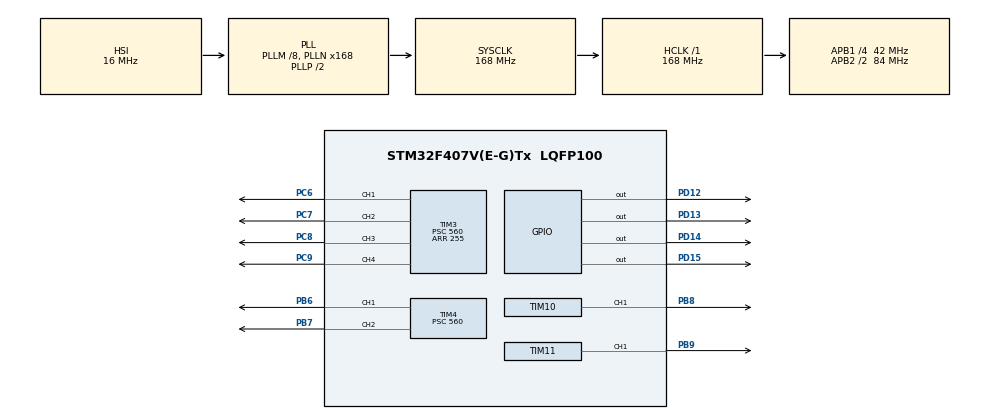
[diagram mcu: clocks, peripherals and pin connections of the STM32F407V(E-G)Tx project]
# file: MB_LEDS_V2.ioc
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Mcu.Family=STM32F4
Mcu.Name=STM32F407V(E-G)Tx
Mcu.Package=LQFP100
NVIC.PriorityGroup=NVIC_PRIORITYGROUP_4
NVIC.TIM6_DAC_IRQn=true\:0\:0\:false\:false\:true\:true
NVIC.TIM7_IRQn=true\:0\:0\:false\:false\:true\:true
PB6.GPIO_PuPd=GPIO_PULLUP
PB6.GPIO_Speed=GPIO_SPEED_FREQ_MEDIUM
PB6.Signal=S_TIM4_CH1
PB7.GPIO_PuPd=GPIO_PULLUP
PB7.GPIO_Speed=GPIO_SPEED_FREQ_MEDIUM
PB7.Signal=S_TIM4_CH2
PB8.GPIO_PuPd=GPIO_PULLUP
PB8.GPIO_Speed=GPIO_SPEED_FREQ_MEDIUM
PB8.Signal=S_TIM10_CH1
PB9.GPIO_PuPd=GPIO_PULLUP
PB9.GPIO_Speed=GPIO_SPEED_FREQ_MEDIUM
PB9.Signal=S_TIM11_CH1
PC6.GPIO_PuPd=GPIO_PULLUP
PC6.GPIO_Speed=GPIO_SPEED_FREQ_MEDIUM
PC6.Signal=S_TIM3_CH1
PC7.GPIO_PuPd=GPIO_PULLUP
PC7.GPIO_Speed=GPIO_SPEED_FREQ_MEDIUM
PC7.Signal=S_TIM3_CH2
PC8.GPIO_PuPd=GPIO_PULLUP
PC8.GPIO_Speed=GPIO_SPEED_FREQ_MEDIUM
PC8.Signal=S_TIM3_CH3
PC9.GPIO_PuPd=GPIO_PULLUP
PC9.GPIO_Speed=GPIO_SPEED_FREQ_MEDIUM
PC9.Signal=S_TIM3_CH4
PD12.Signal=GPIO_Output
PD13.Signal=GPIO_Output
PD14.Signal=GPIO_Output
PD15.Signal=GPIO_Output
ProjectManager.HeapSize=0x200
ProjectManager.StackSize=0x400
ProjectManager.TargetToolchain=SW4STM32
RCC.48MHZClocksFreq_Value=84000000
RCC.AHBFreq_Value=168000000
RCC.APB1CLKDivider=RCC_HCLK_DIV4
RCC.APB1Freq_Value=42000000
RCC.APB1TimFreq_Value=84000000
RCC.APB2CLKDivider=RCC_HCLK_DIV2
RCC.APB2Freq_Value=84000000
RCC.APB2TimFreq_Value=168000000
RCC.CortexFreq_Value=168000000
RCC.HCLKFreq_Value=168000000
RCC.HSE_VALUE=25000000
RCC.HSI_VALUE=16000000
RCC.LSE_VALUE=32768
RCC.PLLM=8
RCC.PLLN=168
RCC.SYSCLKFreq_VALUE=168000000
RCC.SYSCLKSource=RCC_SYSCLKSOURCE_PLLCLK
RCC.VCOOutputFreq_Value=336000000
SH.S_TIM10_CH1.0=TIM10_CH1,PWM Generation1 CH1
SH.S_TIM11_CH1.0=TIM11_CH1,PWM Generation1 CH1
SH.S_TIM3_CH1.0=TIM3_CH1,PWM Generation1 CH1
SH.S_TIM3_CH2.0=TIM3_CH2,PWM Generation2 CH2
SH.S_TIM3_CH3.0=TIM3_CH3,PWM Generation3 CH3
SH.S_TIM3_CH4.0=TIM3_CH4,PWM Generation4 CH4
SH.S_TIM4_CH1.0=TIM4_CH1,PWM Generation1 CH1
SH.S_TIM4_CH2.0=TIM4_CH2,PWM Generation2 CH2
TIM10.Channel=TIM_CHANNEL_1
TIM10.Period=255
TIM10.Prescaler=560
TIM11.Channel=TIM_CHANNEL_1
TIM11.Period=255
TIM11.Prescaler=560
TIM3.Channel-PWM\ Generation1\ CH1=TIM_CHANNEL_1
TIM3.Channel-PWM\ Generation2\ CH2=TIM_CHANNEL_2
TIM3.Channel-PWM\ Generation3\ CH3=TIM_CHANNEL_3
TIM3.Channel-PWM\ Generation4\ CH4=TIM_CHANNEL_4
TIM3.Period=255
TIM3.Prescaler=560
TIM4.Channel-PWM\ Generation1\ CH1=TIM_CHANNEL_1
TIM4.Channel-PWM\ Generation2\ CH2=TIM_CHANNEL_2
TIM4.Period=255
TIM4.Prescaler=560
TIM6.Period=1
TIM6.Prescaler=10000
TIM7.Period=10
TIM7.Prescaler=50000
VP_TIM10_VS_ClockSourceINT.Mode=Enable_Timer
VP_TIM11_VS_ClockSourceINT.Mode=Enable_Timer
VP_TIM3_VS_ClockSourceINT.Mode=Internal
VP_TIM4_VS_ClockSourceINT.Mode=Internal
VP_TIM6_VS_ClockSourceINT.Mode=Enable_Timer
VP_TIM7_VS_ClockSourceINT.Mode=Enable_Timer
board=MB_LEDS_V2

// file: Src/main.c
/**
  ******************************************************************************
  * @file           : main.c
  * @brief          : Main program body
  ******************************************************************************
  ** This notice applies to any and all portions of this file
  * that are not between comment pairs USER CODE BEGIN and
  * USER CODE END. Other portions of this file, whether
  * inserted by the user or by software development tools
  * are owned by their respective copyright owners.
  *
  * COPYRIGHT(c) 2019 STMicroelectronics
  *
  * Redistribution and use in source and binary forms, with or without modification,
  * are permitted provided that the following conditions are met:
  *   1. Redistributions of source code must retain the above copyright notice,
  *      this list of conditions and the following disclaimer.
  *   2. Redistributions in binary form must reproduce the above copyright notice,
  *      this list of conditions and the following disclaimer in the documentation
  *      and/or other materials provided with the distribution.
  *   3. Neither the name of STMicroelectronics nor the names of its contributors
  *      may be used to endorse or promote products derived from this software
  *      without specific prior written permission.
  *
  * THIS SOFTWARE IS PROVIDED BY THE COPYRIGHT HOLDERS AND CONTRIBUTORS "AS IS"
  * AND ANY EXPRESS OR IMPLIED WARRANTIES, INCLUDING, BUT NOT LIMITED TO, THE
  * IMPLIED WARRANTIES OF MERCHANTABILITY AND FITNESS FOR A PARTICULAR PURPOSE ARE
  * DISCLAIMED. IN NO EVENT SHALL THE COPYRIGHT HOLDER OR CONTRIBUTORS BE LIABLE
  * FOR ANY DIRECT, INDIRECT, INCIDENTAL, SPECIAL, EXEMPLARY, OR CONSEQUENTIAL
  * DAMAGES (INCLUDING, BUT NOT LIMITED TO, PROCUREMENT OF SUBSTITUTE GOODS OR
  * SERVICES; LOSS OF USE, DATA, OR PROFITS; OR BUSINESS INTERRUPTION) HOWEVER
  * CAUSED AND ON ANY THEORY OF LIABILITY, WHETHER IN CONTRACT, STRICT LIABILITY,
  * OR TORT (INCLUDING NEGLIGENCE OR OTHERWISE) ARISING IN ANY WAY OUT OF THE USE
  * OF THIS SOFTWARE, EVEN IF ADVISED OF THE POSSIBILITY OF SUCH DAMAGE.
  *
  ******************************************************************************
  */
#include "main.h"
#include "stm32f4xx_hal.h"

/* USER CODE BEGIN Includes */
#include "math.h"
/* USER CODE END Includes */

TIM_HandleTypeDef htim3;
TIM_HandleTypeDef htim4;
TIM_HandleTypeDef htim6;
TIM_HandleTypeDef htim7;
TIM_HandleTypeDef htim10;
TIM_HandleTypeDef htim11;

/* USER CODE BEGIN PV */
/* Private variables ---------------------------------------------------------*/
#define PERIOD 255
#define RED 0
#define GREEN 1
#define BLUE 2
/* USER CODE END PV */

void SystemClock_Config(void);
static void MX_GPIO_Init(void);
static void MX_TIM7_Init(void);
static void MX_TIM6_Init(void);
static void MX_TIM3_Init(void);
static void MX_TIM4_Init(void);
static void MX_TIM10_Init(void);
static void MX_TIM11_Init(void);
void HAL_TIM_MspPostInit(TIM_HandleTypeDef *htim);

/* USER CODE BEGIN PFP */
/* Private function prototypes -----------------------------------------------*/
/**
  * @brief  Deze functie bepaald de PWM waarde van de pin op het ledje.
  * @param  bits is de data die bestaat uit een 8-bit kleur.
  * @param  kleur geeft aan of de pin aan R G of B zit
  *          This parameter can be one of the following values:
  *            @arg RED: 	Pin bij het rode ledje
  *            @arg GREEN: 	Pin bij het groene ledje
  *            @arg BLUE: 	Pin bij het blauw ledje
  * @retval HAL status
  */
uint8_t get_value(unsigned int bits, uint8_t kleur)
{
	switch(kleur)
	{
	case RED://rood
		bits = bits>>16;
		break;
	case GREEN://groen
		bits = bits>>8;
		break;
	case BLUE://blauw
		break;
	default:
		return 0;
		break;
	}

	return PERIOD/0xFF * (bits &= 0xFF);
}

void color_led(unsigned int data)
{
	  htim3.Instance->CCR1 = get_value(data, RED);		//R
	  htim3.Instance->CCR4 = get_value(data, GREEN);		//B
	  htim3.Instance->CCR2 = get_value(data, BLUE);	//G
}

void wave()
{
	uint8_t teller = 0;
	while(teller<24)
	{
		color_led(pow(2,teller));
		HAL_Delay(50);
		teller++;
	}
	teller = 0;
}
/* USER CODE END PFP */

int main(void)
{

  /* MCU Configuration----------------------------------------------------------*/

  /* Reset of all peripherals, Initializes the Flash interface and the Systick. */
  HAL_Init();

  /* Configure the system clock */
  SystemClock_Config();

  /* Initialize all configured peripherals */
  MX_GPIO_Init();
  MX_TIM7_Init();
  MX_TIM6_Init();
  MX_TIM3_Init();
  MX_TIM4_Init();
  MX_TIM10_Init();
  MX_TIM11_Init();
  /* USER CODE BEGIN 2 */
  HAL_TIM_Base_Start_IT(&htim6);
  HAL_TIM_Base_Start_IT(&htim7);
  HAL_TIM_PWM_Start(&htim3, TIM_CHANNEL_1);
  HAL_TIM_PWM_Start(&htim3, TIM_CHANNEL_2);
  HAL_TIM_PWM_Start(&htim3, TIM_CHANNEL_3);
  HAL_TIM_PWM_Start(&htim3, TIM_CHANNEL_4);
  HAL_TIM_PWM_Start(&htim4, TIM_CHANNEL_1);
  HAL_TIM_PWM_Start(&htim4, TIM_CHANNEL_2);
  HAL_TIM_PWM_Start(&htim10, TIM_CHANNEL_1);
  HAL_TIM_PWM_Start(&htim11, TIM_CHANNEL_1);
  /* USER CODE END 2 */

  /* Infinite loop */
  /* USER CODE BEGIN WHILE */
  int test = 0;
  while (1)
  {
	  /*if(test > 16777215)
		  test = 0;
	  color_led(0xef1f00);
	  HAL_Delay(1);
	  test++;*/
	  wave();

  /* USER CODE END WHILE */

  }

}

void SystemClock_Config(void)
{

  RCC_OscInitTypeDef RCC_OscInitStruct;
  RCC_ClkInitTypeDef RCC_ClkInitStruct;

    /**Configure the main internal regulator output voltage
    */
  __HAL_RCC_PWR_CLK_ENABLE();

  __HAL_PWR_VOLTAGESCALING_CONFIG(PWR_REGULATOR_VOLTAGE_SCALE1);

    /**Initializes the CPU, AHB and APB busses clocks
    */
  RCC_OscInitStruct.OscillatorType = RCC_OSCILLATORTYPE_HSI;
  RCC_OscInitStruct.HSIState = RCC_HSI_ON;
  RCC_OscInitStruct.HSICalibrationValue = 16;
  RCC_OscInitStruct.PLL.PLLState = RCC_PLL_ON;
  RCC_OscInitStruct.PLL.PLLSource = RCC_PLLSOURCE_HSI;
  RCC_OscInitStruct.PLL.PLLM = 8;
  RCC_OscInitStruct.PLL.PLLN = 168;
  RCC_OscInitStruct.PLL.PLLP = RCC_PLLP_DIV2;
  RCC_OscInitStruct.PLL.PLLQ = 4;
  if (HAL_RCC_OscConfig(&RCC_OscInitStruct) != HAL_OK)
  {
    _Error_Handler(__FILE__, __LINE__);
  }

    /**Initializes the CPU, AHB and APB busses clocks
    */
  RCC_ClkInitStruct.ClockType = RCC_CLOCKTYPE_HCLK|RCC_CLOCKTYPE_SYSCLK
                              |RCC_CLOCKTYPE_PCLK1|RCC_CLOCKTYPE_PCLK2;
  RCC_ClkInitStruct.SYSCLKSource = RCC_SYSCLKSOURCE_PLLCLK;
  RCC_ClkInitStruct.AHBCLKDivider = RCC_SYSCLK_DIV1;
  RCC_ClkInitStruct.APB1CLKDivider = RCC_HCLK_DIV4;
  RCC_ClkInitStruct.APB2CLKDivider = RCC_HCLK_DIV2;

  if (HAL_RCC_ClockConfig(&RCC_ClkInitStruct, FLASH_LATENCY_5) != HAL_OK)
  {
    _Error_Handler(__FILE__, __LINE__);
  }

    /**Configure the Systick interrupt time
    */
  HAL_SYSTICK_Config(HAL_RCC_GetHCLKFreq()/1000);

    /**Configure the Systick
    */
  HAL_SYSTICK_CLKSourceConfig(SYSTICK_CLKSOURCE_HCLK);

  /* SysTick_IRQn interrupt configuration */
  HAL_NVIC_SetPriority(SysTick_IRQn, 0, 0);
}

/* TIM3 init function */
static void MX_TIM3_Init(void)
{

  TIM_ClockConfigTypeDef sClockSourceConfig;
  TIM_MasterConfigTypeDef sMasterConfig;
  TIM_OC_InitTypeDef sConfigOC;

  htim3.Instance = TIM3;
  htim3.Init.Prescaler = 560;
  htim3.Init.CounterMode = TIM_COUNTERMODE_UP;
  htim3.Init.Period = 255;
  htim3.Init.ClockDivision = TIM_CLOCKDIVISION_DIV1;
  if (HAL_TIM_Base_Init(&htim3) != HAL_OK)
  {
    _Error_Handler(__FILE__, __LINE__);
  }

  sClockSourceConfig.ClockSource = TIM_CLOCKSOURCE_INTERNAL;
  if (HAL_TIM_ConfigClockSource(&htim3, &sClockSourceConfig) != HAL_OK)
  {
    _Error_Handler(__FILE__, __LINE__);
  }

  if (HAL_TIM_PWM_Init(&htim3) != HAL_OK)
  {
    _Error_Handler(__FILE__, __LINE__);
  }

  sMasterConfig.MasterOutputTrigger = TIM_TRGO_RESET;
  sMasterConfig.MasterSlaveMode = TIM_MASTERSLAVEMODE_DISABLE;
  if (HAL_TIMEx_MasterConfigSynchronization(&htim3, &sMasterConfig) != HAL_OK)
  {
    _Error_Handler(__FILE__, __LINE__);
  }

  sConfigOC.OCMode = TIM_OCMODE_PWM1;
  sConfigOC.Pulse = 0;
  sConfigOC.OCPolarity = TIM_OCPOLARITY_HIGH;
  sConfigOC.OCFastMode = TIM_OCFAST_DISABLE;
  if (HAL_TIM_PWM_ConfigChannel(&htim3, &sConfigOC, TIM_CHANNEL_1) != HAL_OK)
  {
    _Error_Handler(__FILE__, __LINE__);
  }

  if (HAL_TIM_PWM_ConfigChannel(&htim3, &sConfigOC, TIM_CHANNEL_2) != HAL_OK)
  {
    _Error_Handler(__FILE__, __LINE__);
  }

  if (HAL_TIM_PWM_ConfigChannel(&htim3, &sConfigOC, TIM_CHANNEL_3) != HAL_OK)
  {
    _Error_Handler(__FILE__, __LINE__);
  }

  if (HAL_TIM_PWM_ConfigChannel(&htim3, &sConfigOC, TIM_CHANNEL_4) != HAL_OK)
  {
    _Error_Handler(__FILE__, __LINE__);
  }

  HAL_TIM_MspPostInit(&htim3);

}

/* TIM4 init function */
static void MX_TIM4_Init(void)
{

  TIM_ClockConfigTypeDef sClockSourceConfig;
  TIM_MasterConfigTypeDef sMasterConfig;
  TIM_OC_InitTypeDef sConfigOC;

  htim4.Instance = TIM4;
  htim4.Init.Prescaler = 560;
  htim4.Init.CounterMode = TIM_COUNTERMODE_UP;
  htim4.Init.Period = 255;
  htim4.Init.ClockDivision = TIM_CLOCKDIVISION_DIV1;
  if (HAL_TIM_Base_Init(&htim4) != HAL_OK)
  {
    _Error_Handler(__FILE__, __LINE__);
  }

  sClockSourceConfig.ClockSource = TIM_CLOCKSOURCE_INTERNAL;
  if (HAL_TIM_ConfigClockSource(&htim4, &sClockSourceConfig) != HAL_OK)
  {
    _Error_Handler(__FILE__, __LINE__);
  }

  if (HAL_TIM_PWM_Init(&htim4) != HAL_OK)
  {
    _Error_Handler(__FILE__, __LINE__);
  }

  sMasterConfig.MasterOutputTrigger = TIM_TRGO_RESET;
  sMasterConfig.MasterSlaveMode = TIM_MASTERSLAVEMODE_DISABLE;
  if (HAL_TIMEx_MasterConfigSynchronization(&htim4, &sMasterConfig) != HAL_OK)
  {
    _Error_Handler(__FILE__, __LINE__);
  }

  sConfigOC.OCMode = TIM_OCMODE_PWM1;
  sConfigOC.Pulse = 0;
  sConfigOC.OCPolarity = TIM_OCPOLARITY_HIGH;
  sConfigOC.OCFastMode = TIM_OCFAST_DISABLE;
  if (HAL_TIM_PWM_ConfigChannel(&htim4, &sConfigOC, TIM_CHANNEL_1) != HAL_OK)
  {
    _Error_Handler(__FILE__, __LINE__);
  }

  if (HAL_TIM_PWM_ConfigChannel(&htim4, &sConfigOC, TIM_CHANNEL_2) != HAL_OK)
  {
    _Error_Handler(__FILE__, __LINE__);
  }

  HAL_TIM_MspPostInit(&htim4);

}

/* TIM6 init function */
static void MX_TIM6_Init(void)
{

  TIM_MasterConfigTypeDef sMasterConfig;

  htim6.Instance = TIM6;
  htim6.Init.Prescaler = 10000;
  htim6.Init.CounterMode = TIM_COUNTERMODE_UP;
  htim6.Init.Period = 1;
  if (HAL_TIM_Base_Init(&htim6) != HAL_OK)
  {
    _Error_Handler(__FILE__, __LINE__);
  }

  sMasterConfig.MasterOutputTrigger = TIM_TRGO_RESET;
  sMasterConfig.MasterSlaveMode = TIM_MASTERSLAVEMODE_DISABLE;
  if (HAL_TIMEx_MasterConfigSynchronization(&htim6, &sMasterConfig) != HAL_OK)
  {
    _Error_Handler(__FILE__, __LINE__);
  }

}

/* TIM7 init function */
static void MX_TIM7_Init(void)
{

  TIM_MasterConfigTypeDef sMasterConfig;

  htim7.Instance = TIM7;
  htim7.Init.Prescaler = 50000;
  htim7.Init.CounterMode = TIM_COUNTERMODE_UP;
  htim7.Init.Period = 10;
  if (HAL_TIM_Base_Init(&htim7) != HAL_OK)
  {
    _Error_Handler(__FILE__, __LINE__);
  }

  sMasterConfig.MasterOutputTrigger = TIM_TRGO_RESET;
  sMasterConfig.MasterSlaveMode = TIM_MASTERSLAVEMODE_DISABLE;
  if (HAL_TIMEx_MasterConfigSynchronization(&htim7, &sMasterConfig) != HAL_OK)
  {
    _Error_Handler(__FILE__, __LINE__);
  }

}

/* TIM10 init function */
static void MX_TIM10_Init(void)
{

  TIM_OC_InitTypeDef sConfigOC;

  htim10.Instance = TIM10;
  htim10.Init.Prescaler = 560;
  htim10.Init.CounterMode = TIM_COUNTERMODE_UP;
  htim10.Init.Period = 255;
  htim10.Init.ClockDivision = TIM_CLOCKDIVISION_DIV1;
  if (HAL_TIM_Base_Init(&htim10) != HAL_OK)
  {
    _Error_Handler(__FILE__, __LINE__);
  }

  if (HAL_TIM_PWM_Init(&htim10) != HAL_OK)
  {
    _Error_Handler(__FILE__, __LINE__);
  }

  sConfigOC.OCMode = TIM_OCMODE_PWM1;
  sConfigOC.Pulse = 0;
  sConfigOC.OCPolarity = TIM_OCPOLARITY_HIGH;
  sConfigOC.OCFastMode = TIM_OCFAST_DISABLE;
  if (HAL_TIM_PWM_ConfigChannel(&htim10, &sConfigOC, TIM_CHANNEL_1) != HAL_OK)
  {
    _Error_Handler(__FILE__, __LINE__);
  }

  HAL_TIM_MspPostInit(&htim10);

}

/* TIM11 init function */
static void MX_TIM11_Init(void)
{

  TIM_OC_InitTypeDef sConfigOC;

  htim11.Instance = TIM11;
  htim11.Init.Prescaler = 560;
  htim11.Init.CounterMode = TIM_COUNTERMODE_UP;
  htim11.Init.Period = 255;
  htim11.Init.ClockDivision = TIM_CLOCKDIVISION_DIV1;
  if (HAL_TIM_Base_Init(&htim11) != HAL_OK)
  {
    _Error_Handler(__FILE__, __LINE__);
  }

  if (HAL_TIM_PWM_Init(&htim11) != HAL_OK)
  {
    _Error_Handler(__FILE__, __LINE__);
  }

  sConfigOC.OCMode = TIM_OCMODE_PWM1;
  sConfigOC.Pulse = 0;
  sConfigOC.OCPolarity = TIM_OCPOLARITY_HIGH;
  sConfigOC.OCFastMode = TIM_OCFAST_DISABLE;
  if (HAL_TIM_PWM_ConfigChannel(&htim11, &sConfigOC, TIM_CHANNEL_1) != HAL_OK)
  {
    _Error_Handler(__FILE__, __LINE__);
  }

  HAL_TIM_MspPostInit(&htim11);

}

/** Configure pins as
        * Analog
        * Input
        * Output
        * EVENT_OUT
        * EXTI
*/
static void MX_GPIO_Init(void)
{

  GPIO_InitTypeDef GPIO_InitStruct;

  /* GPIO Ports Clock Enable */
  __HAL_RCC_GPIOD_CLK_ENABLE();
  __HAL_RCC_GPIOC_CLK_ENABLE();
  __HAL_RCC_GPIOB_CLK_ENABLE();

  /*Configure GPIO pin Output Level */
  HAL_GPIO_WritePin(GPIOD, GPIO_PIN_12|GPIO_PIN_13|GPIO_PIN_14|GPIO_PIN_15, GPIO_PIN_RESET);

  /*Configure GPIO pins : PD12 PD13 PD14 PD15 */
  GPIO_InitStruct.Pin = GPIO_PIN_12|GPIO_PIN_13|GPIO_PIN_14|GPIO_PIN_15;
  GPIO_InitStruct.Mode = GPIO_MODE_OUTPUT_PP;
  GPIO_InitStruct.Pull = GPIO_NOPULL;
  GPIO_InitStruct.Speed = GPIO_SPEED_FREQ_LOW;
  HAL_GPIO_Init(GPIOD, &GPIO_InitStruct);

}

void _Error_Handler(char *file, int line)
{
  while(1)
  {
  }
}

/************************ (C) COPYRIGHT STMicroelectronics *****END OF FILE****/
